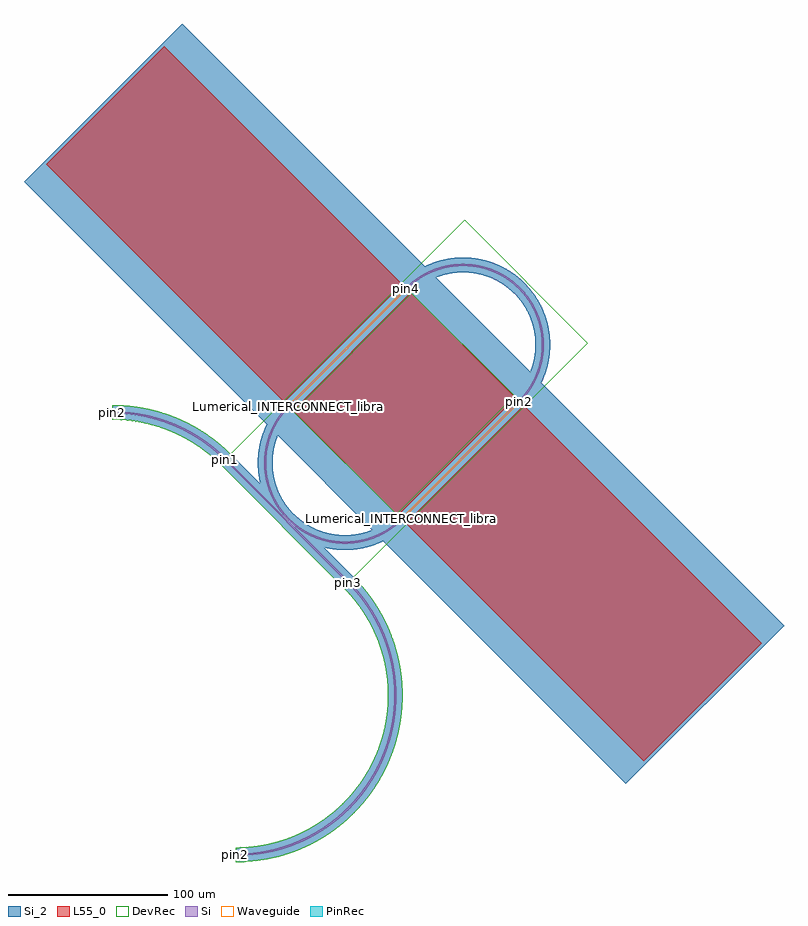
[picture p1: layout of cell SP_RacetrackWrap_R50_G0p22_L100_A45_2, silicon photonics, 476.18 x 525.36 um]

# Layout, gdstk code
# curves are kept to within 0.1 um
import gdstk
lib = gdstk.Library(unit=1e-6, precision=1e-09)
def P(c, l, *ps):  # polygons
    for p in ps: c.add(gdstk.Polygon(p, *l))
Si = (1, 0)
Si_2 = (1, 2)
PinRec = (1, 10)
Waveguide = (1, 99)
L55_0 = (55, 0)
DevRec = (68, 0)

sp_racetrackwrap_r50_g0p = lib.new_cell('SP_RacetrackWrap_R50_G0p22_L100_A45_2')
P(sp_racetrackwrap_r50_g0p, Si, [(36.132,-14.24),(32.502,-14.093),(28.892,-13.687),(24.878,-12.921),(21.372,-11.971),(17.944,-10.771),(14.61,-9.327),(11.387,-7.649),(8.294,-5.745),(5.346,-3.623),(2.558,-1.295),(-0.371,1.556),(-2.773,4.281),(-4.974,7.171),(-6.961,10.212),(-8.93,13.794),(-10.433,17.101),(-11.693,20.507),(-12.816,24.437),(-13.545,27.995),(-14.016,31.598),(-14.228,35.225),(-14.179,38.857),(-13.813,42.927),(-13.212,46.509),(-12.357,50.04),(-11.094,53.926),(-9.711,57.285),(-8.091,60.537),(-6.241,63.664),(-4.173,66.65),(-1.895,69.48),(0.58,72.139),(1.428,71.291),(-2.125,67.333),(-4.99,63.389),(-7.656,58.787),(-9.813,53.925),(-11.201,49.715),(-12.285,44.962),(-12.897,40.125),(-13.036,35.695),(-12.729,30.828),(-11.946,26.016),(-10.691,21.304),(-9.152,17.148),(-7.036,12.755),(-4.499,8.593),(-1.845,5.042),(1.428,1.428),(5.042,-1.845),(8.593,-4.499),(12.755,-7.036),(17.148,-9.152),(21.304,-10.691),(26.016,-11.946),(30.828,-12.729),(35.695,-13.036),(40.125,-12.897),(44.962,-12.285),(49.715,-11.201),(53.925,-9.813),(58.787,-7.656),(63.389,-4.99),(67.333,-2.125),(71.291,1.428),(72.139,0.58),(68.438,-2.773),(64.424,-5.745),(60.137,-8.306),(55.618,-10.433),(50.912,-12.103),(46.064,-13.301),(41.121,-14.016)],
  [(38.184,-39.032),(-39.032,38.184),(-38.184,39.032),(39.032,-38.184)],
  [(146.117,74.557),(145.268,75.406),(148.821,79.364),(151.928,83.68),(154.552,88.306),(156.509,92.772),(157.897,96.981),(158.982,101.734),(159.593,106.572),(159.733,111.002),(159.426,115.868),(158.642,120.681),(157.521,124.968),(155.848,129.548),(153.733,133.941),(151.195,138.104),(148.541,141.654),(145.268,145.268),(141.654,148.541),(138.104,151.195),(133.941,153.733),(129.548,155.848),(124.968,157.521),(120.681,158.642),(115.868,159.426),(111.002,159.733),(106.572,159.593),(101.734,158.982),(96.981,157.897),(92.772,156.509),(88.306,154.552),(83.68,151.928),(79.364,148.821),(75.406,145.268),(74.557,146.117),(78.258,149.47),(82.272,152.441),(86.56,155.002),(91.078,157.129),(95.35,158.667),(100.187,159.908),(105.123,160.667),(110.11,160.937),(115.099,160.713),(120.041,159.997),(124.889,158.799),(129.596,157.129),(134.114,155.002),(138.402,152.441),(142.416,149.47),(146.117,146.117),(149.47,142.416),(152.441,138.402),(155.002,134.114),(157.129,129.596),(158.667,125.324),(159.908,120.487),(160.667,115.551),(160.937,110.564),(160.713,105.575),(159.997,100.633),(158.799,95.785),(157.129,91.078),(155.002,86.56),(152.441,82.272),(149.47,78.258)],
  [(1.428,71.291),(0.58,72.139),(74.557,146.117),(75.406,145.268)],
  [(72.139,0.58),(71.291,1.428),(145.268,75.406),(146.117,74.557)],
  [(-39.032,38.184),(-42.357,41.359),(-46.226,44.708),(-49.775,47.49),(-53.591,50.207),(-57.382,52.65),(-61.584,55.086),(-65.744,57.237),(-69.842,59.123),(-77.861,62.189),(-82.171,63.519),(-86.452,64.632),(-92.144,65.803),(-97.635,66.609),(-103.51,67.128),(-109.319,67.297),(-109.319,68.497),(-104.054,68.36),(-98.89,67.956),(-94.102,67.34),(-89.09,66.443),(-83.96,65.249),(-79.151,63.868),(-74.17,62.158),(-69.527,60.294),(-64.588,58.006),(-59.857,55.499),(-54.97,52.554),(-50.4,49.439),(-44.251,44.622),(-38.557,39.404),(-38.184,39.032)],
  [(-32.103,-209.919),(-32.103,-208.718),(-24.217,-208.406),(-15.954,-207.399),(-8.309,-205.829),(-0.974,-203.719),(5.535,-201.318),(11.939,-198.43),(17.748,-195.315),(23.841,-191.482),(29.368,-187.433),(34.988,-182.663),(40.298,-177.426),(45.091,-171.941),(49.57,-165.976),(53.323,-160.141),(56.738,-153.904),(59.731,-147.358),(62.298,-140.447),(64.282,-133.618),(65.803,-126.494),(66.798,-119.278),(67.259,-112.095),(67.207,-105.07),(66.609,-97.635),(65.521,-90.607),(63.978,-83.843),(61.967,-77.203),(59.531,-70.799),(56.699,-64.656),(52.921,-57.826),(48.467,-51.104),(43.482,-44.763),(38.184,-39.032),(39.032,-38.184),(43.937,-43.452),(48.609,-49.268),(52.79,-55.341),(56.516,-61.703),(59.765,-68.321),(62.55,-75.241),(64.839,-82.435),(66.513,-89.434),(67.737,-96.971),(68.36,-104.054),(68.468,-111.777),(68.009,-119.223),(67,-126.615),(65.424,-133.996),(63.355,-141.073),(60.806,-147.898),(57.771,-154.52),(54.174,-161.056),(50.153,-167.236),(45.635,-173.173),(40.628,-178.822),(35.408,-183.903),(29.695,-188.701),(23.642,-193.062),(17.359,-196.92),(10.731,-200.345),(3.949,-203.237),(-3.11,-205.651),(-10.5,-207.572),(-17.754,-208.891),(-24.735,-209.649)])
P(sp_racetrackwrap_r50_g0p, Si_2, [(212.301,-164.742),(-164.742,212.301),(-65.605,311.438),(311.438,-65.605)],
  [(35.355,-41.861),(-41.861,35.355),(-35.355,41.861),(-16.609,23.115),(-17.406,26.852),(-17.898,30.246),(-18.174,33.665),(-18.236,37.094),(-18.081,40.521),(-17.713,43.931),(-17.031,47.791),(-16.207,51.121),(-15.177,54.393),(-13.75,58.044),(-12.29,61.148),(-10.637,64.154),(-8.799,67.049),(-6.783,69.824),(-4.596,72.467),(-2.249,74.967),(4.257,68.462),(0.991,64.825),(-1.864,60.858),(-4.275,56.607),(-6.356,51.738),(-7.763,47.057),(-8.657,42.252),(-9.037,36.97),(-8.839,32.087),(-8.275,28.052),(-7.35,24.085),(-6.074,20.216),(-4.633,16.845),(-2.925,13.6),(-0.725,10.171),(1.508,7.264),(4.257,4.257),(7.264,1.508),(10.171,-0.725),(13.6,-2.925),(16.845,-4.633),(20.216,-6.074),(24.085,-7.35),(28.052,-8.275),(32.087,-8.839),(36.97,-9.037),(42.252,-8.657),(47.057,-7.763),(51.738,-6.356),(56.607,-4.275),(60.858,-1.864),(64.825,0.991),(68.462,4.257),(74.967,-2.249),(72.467,-4.596),(69.824,-6.783),(67.049,-8.799),(64.154,-10.637),(61.148,-12.29),(58.044,-13.75),(54.393,-15.177),(51.121,-16.207),(47.791,-17.031),(43.931,-17.713),(40.521,-18.081),(37.094,-18.236),(33.665,-18.174),(30.246,-17.898),(26.852,-17.406),(23.115,-16.609),(41.861,-35.355)],
  [(148.945,71.729),(142.44,78.234),(145.705,81.872),(148.778,86.182),(151.152,90.455),(153.053,94.958),(154.459,99.64),(155.353,104.445),(155.733,109.726),(155.535,114.609),(154.971,118.644),(154.154,122.218),(153.053,125.716),(151.503,129.483),(149.621,133.096),(147.655,136.192),(145.188,139.432),(142.44,142.44),(139.432,145.188),(136.192,147.655),(133.096,149.621),(129.483,151.503),(125.716,153.053),(122.218,154.154),(118.644,154.971),(114.609,155.535),(109.726,155.733),(104.445,155.353),(99.64,154.459),(94.958,153.053),(90.455,151.152),(86.182,148.778),(81.872,145.705),(78.234,142.44),(71.729,148.945),(75.723,152.563),(80.054,155.769),(84.68,158.533),(89.556,160.828),(94.634,162.63),(99.865,163.924),(104.71,164.646),(110.092,164.936),(115.475,164.694),(120.808,163.924),(126.04,162.63),(131.118,160.828),(135.994,158.533),(140.62,155.769),(144.951,152.563),(148.945,148.945),(152.563,144.951),(155.769,140.62),(158.533,135.994),(160.828,131.118),(162.63,126.04),(163.924,120.808),(164.646,115.963),(164.936,110.582),(164.694,105.198),(163.924,99.865),(162.63,94.634),(160.828,89.556),(158.533,84.68),(155.769,80.054),(152.563,75.723)],
  [(4.257,68.462),(-2.249,74.967),(71.729,148.945),(78.234,142.44)],
  [(74.967,-2.249),(68.462,4.257),(142.44,78.234),(148.945,71.729)],
  [(-41.861,35.355),(-45.298,38.626),(-48.829,41.669),(-52.639,44.635),(-56.386,47.266),(-60.541,49.885),(-64.458,52.092),(-68.549,54.147),(-72.657,55.972),(-77.082,57.686),(-81.586,59.178),(-85.916,60.383),(-90.462,61.416),(-95.053,62.225),(-99.844,62.826),(-104.742,63.188),(-109.319,63.297),(-109.319,72.497),(-102.386,72.268),(-96.028,71.65),(-89.718,70.645),(-83.306,69.212),(-76.822,67.322),(-70.558,65.051),(-64.534,62.426),(-58.687,59.427),(-52.656,55.821),(-46.588,51.6),(-40.625,46.78),(-35.355,41.861)],
  [(-32.011,-213.919),(-32.103,-204.719),(-24.452,-204.412),(-16.357,-203.411),(-8.942,-201.865),(-1.595,-199.71),(5.786,-196.873),(12.758,-193.513),(19.716,-189.419),(26.171,-184.853),(30.987,-180.879),(35.532,-176.6),(39.623,-172.221),(43.533,-167.461),(47.22,-162.32),(50.35,-157.307),(53.312,-151.812),(55.972,-145.981),(58.154,-140.221),(60.004,-134.171),(61.416,-128.175),(62.471,-121.854),(63.094,-115.558),(63.297,-109.735),(63.115,-103.412),(62.514,-97.114),(61.213,-89.484),(59.274,-81.904),(56.66,-74.354),(53.57,-67.348),(49.885,-60.541),(45.565,-53.92),(40.548,-47.488),(35.355,-41.861),(41.861,-35.355),(47.199,-41.109),(51.927,-47.027),(56.117,-53.117),(60.168,-60.05),(63.529,-66.941),(66.406,-74.144),(68.645,-81.19),(70.506,-89.002),(71.729,-96.661),(72.386,-104.483),(72.457,-112.24),(71.981,-119.708),(70.94,-127.302),(69.369,-134.712),(67.208,-142.162),(64.536,-149.347),(61.467,-156.073),(57.792,-162.8),(53.529,-169.39),(48.957,-175.43),(43.709,-181.387),(38.092,-186.869),(32.224,-191.801),(26.086,-196.24),(19.643,-200.223),(12.682,-203.847),(5.809,-206.807),(-1.521,-209.348),(-8.929,-211.32),(-16.461,-212.743),(-24.078,-213.611)])
P(sp_racetrackwrap_r50_g0p, Waveguide, [(1.428,71.291),(0.58,72.139),(74.557,146.117),(75.406,145.268)],
  [(72.139,0.58),(71.291,1.428),(145.268,75.406),(146.117,74.557)])
P(sp_racetrackwrap_r50_g0p, L55_0, [(69.536,3.195),(3.62,69.112),(77.584,143.076),(143.5,77.159)],
  [(-1.613,74.344),(-150.742,223.473),(-76.778,297.437),(72.351,148.309)],
  [(223.473,-150.742),(74.344,-1.613),(148.309,72.351),(297.437,-76.778)])
P(sp_racetrackwrap_r50_g0p, DevRec, [(35.355,-41.861),(-41.861,35.355),(-2.249,74.967),(74.967,-2.249)],
  [(148.945,71.729),(71.729,148.945),(111.341,188.557),(188.557,111.341)],
  [(4.257,68.462),(-2.249,74.967),(71.729,148.945),(78.234,142.44)],
  [(74.967,-2.249),(68.462,4.257),(142.44,78.234),(148.945,71.729)],
  [(-41.861,35.355),(-45.298,38.626),(-48.829,41.669),(-52.639,44.635),(-56.386,47.266),(-60.541,49.885),(-64.458,52.092),(-68.549,54.147),(-72.657,55.972),(-77.082,57.686),(-81.586,59.178),(-85.916,60.383),(-90.462,61.416),(-95.053,62.225),(-99.844,62.826),(-104.742,63.188),(-109.319,63.297),(-109.319,72.497),(-102.386,72.268),(-96.028,71.65),(-89.718,70.645),(-83.306,69.212),(-76.822,67.322),(-70.558,65.051),(-64.534,62.426),(-58.687,59.427),(-52.656,55.821),(-46.588,51.6),(-40.625,46.78),(-35.355,41.861)],
  [(-32.011,-213.919),(-32.103,-204.719),(-24.452,-204.412),(-16.357,-203.411),(-8.942,-201.865),(-1.595,-199.71),(5.786,-196.873),(12.758,-193.513),(19.716,-189.419),(26.171,-184.853),(30.987,-180.879),(35.532,-176.6),(39.623,-172.221),(43.533,-167.461),(47.22,-162.32),(50.35,-157.307),(53.312,-151.812),(55.972,-145.981),(58.154,-140.221),(60.004,-134.171),(61.416,-128.175),(62.471,-121.854),(63.094,-115.558),(63.297,-109.735),(63.115,-103.412),(62.514,-97.114),(61.213,-89.484),(59.274,-81.904),(56.66,-74.354),(53.57,-67.348),(49.885,-60.541),(45.565,-53.92),(40.548,-47.488),(35.355,-41.861),(41.861,-35.355),(47.199,-41.109),(51.927,-47.027),(56.117,-53.117),(60.168,-60.05),(63.529,-66.941),(66.406,-74.144),(68.645,-81.19),(70.506,-89.002),(71.729,-96.661),(72.386,-104.483),(72.457,-112.24),(71.981,-119.708),(70.94,-127.302),(69.369,-134.712),(67.208,-142.162),(64.536,-149.347),(61.467,-156.073),(57.792,-162.8),(53.529,-169.39),(48.957,-175.43),(43.709,-181.387),(38.092,-186.869),(32.224,-191.801),(26.086,-196.24),(19.643,-200.223),(12.682,-203.847),(5.809,-206.807),(-1.521,-209.348),(-8.929,-211.32),(-16.461,-212.743),(-24.078,-213.611)])
sp_racetrackwrap_r50_g0p.add(gdstk.FlexPath([(0.997,71.708),(1.011,71.722)], 1.2, ends="flush", simple_path=True, layer=1, datatype=10))  # PinRec
sp_racetrackwrap_r50_g0p.add(gdstk.FlexPath([(71.708,0.997),(71.722,1.011)], 1.2, ends="flush", simple_path=True, layer=1, datatype=10))  # PinRec
sp_racetrackwrap_r50_g0p.add(gdstk.FlexPath([(-38.601,38.601),(-38.615,38.615)], 1.2, ends="flush", simple_path=True, layer=1, datatype=10))  # PinRec
sp_racetrackwrap_r50_g0p.add(gdstk.FlexPath([(38.601,-38.601),(38.615,-38.615)], 1.2, ends="flush", simple_path=True, layer=1, datatype=10))  # PinRec
sp_racetrackwrap_r50_g0p.add(gdstk.FlexPath([(145.699,74.989),(145.685,74.975)], 1.2, ends="flush", simple_path=True, layer=1, datatype=10))  # PinRec
sp_racetrackwrap_r50_g0p.add(gdstk.FlexPath([(74.989,145.699),(74.975,145.685)], 1.2, ends="flush", simple_path=True, layer=1, datatype=10))  # PinRec
sp_racetrackwrap_r50_g0p.add(gdstk.FlexPath([(1.011,71.722),(0.997,71.708)], 1.2, ends="flush", simple_path=True, layer=1, datatype=10))  # PinRec
sp_racetrackwrap_r50_g0p.add(gdstk.FlexPath([(74.975,145.685),(74.989,145.699)], 1.2, ends="flush", simple_path=True, layer=1, datatype=10))  # PinRec
sp_racetrackwrap_r50_g0p.add(gdstk.FlexPath([(71.722,1.011),(71.708,0.997)], 1.2, ends="flush", simple_path=True, layer=1, datatype=10))  # PinRec
sp_racetrackwrap_r50_g0p.add(gdstk.FlexPath([(145.685,74.975),(145.699,74.989)], 1.2, ends="flush", simple_path=True, layer=1, datatype=10))  # PinRec
sp_racetrackwrap_r50_g0p.add(gdstk.FlexPath([(-38.615,38.615),(-38.601,38.601)], 1.2, ends="flush", simple_path=True, layer=1, datatype=10))  # PinRec
sp_racetrackwrap_r50_g0p.add(gdstk.FlexPath([(-109.309,67.898),(-109.329,67.898)], 1.2, ends="flush", simple_path=True, layer=1, datatype=10))  # PinRec
sp_racetrackwrap_r50_g0p.add(gdstk.FlexPath([(38.615,-38.615),(38.601,-38.601)], 1.2, ends="flush", simple_path=True, layer=1, datatype=10))  # PinRec
sp_racetrackwrap_r50_g0p.add(gdstk.FlexPath([(-32.093,-209.319),(-32.113,-209.319)], 1.2, ends="flush", simple_path=True, layer=1, datatype=10))  # PinRec
sp_racetrackwrap_r50_g0p.add(gdstk.FlexPath([(-109.309,67.898),(-109.329,67.898)], 0, ends="flush", simple_path=True, layer=1, datatype=10))  # PinRec
sp_racetrackwrap_r50_g0p.add(gdstk.FlexPath([(-32.093,-209.319),(-32.113,-209.319)], 0, ends="flush", simple_path=True, layer=1, datatype=10))  # PinRec
sp_racetrackwrap_r50_g0p.add(gdstk.Label('Lumerical_INTERCONNECT_library=Design kits/EBeam', (0.834,71.884), layer=68, texttype=0))
sp_racetrackwrap_r50_g0p.add(gdstk.Label('Component=ebeam_wg_integral_895', (1.174,71.545), layer=68, texttype=0))
sp_racetrackwrap_r50_g0p.add(gdstk.Label('cellName=Waveguide', (1.344,71.375), layer=68, texttype=0))
sp_racetrackwrap_r50_g0p.add(gdstk.Label('Spice_param:wg_length=0.000104620 wg_width=1.2e-06 points="[[-50.0,51.42],[-50.0,156.04]]" radius=0.0001', (1.004,71.715), layer=68, texttype=0))
sp_racetrackwrap_r50_g0p.add(gdstk.Label('Length=104.620 (microns)', (-0.014,72.733), layer=68, texttype=0))
sp_racetrackwrap_r50_g0p.add(gdstk.Label('waveguide_type=Low-loss Bend Waveguide, w=1.2um r=100um', (0.665,72.054), layer=68, texttype=0))
sp_racetrackwrap_r50_g0p.add(gdstk.Label('Lumerical_INTERCONNECT_library=Design kits/EBeam', (71.545,1.174), layer=68, texttype=0))
sp_racetrackwrap_r50_g0p.add(gdstk.Label('Component=ebeam_wg_integral_895', (71.884,0.834), layer=68, texttype=0))
sp_racetrackwrap_r50_g0p.add(gdstk.Label('cellName=Waveguide', (72.054,0.665), layer=68, texttype=0))
sp_racetrackwrap_r50_g0p.add(gdstk.Label('Spice_param:wg_length=0.000104620 wg_width=1.2e-06 points="[[50.0,51.42],[50.0,156.04]]" radius=0.0001', (71.715,1.004), layer=68, texttype=0))
sp_racetrackwrap_r50_g0p.add(gdstk.Label('Length=104.620 (microns)', (70.697,2.022), layer=68, texttype=0))
sp_racetrackwrap_r50_g0p.add(gdstk.Label('waveguide_type=Low-loss Bend Waveguide, w=1.2um r=100um', (71.375,1.344), layer=68, texttype=0))
sp_racetrackwrap_r50_g0p.add(gdstk.Label('pin2', (1.004,71.715), layer=1, texttype=10))
sp_racetrackwrap_r50_g0p.add(gdstk.Label('pin4', (71.715,1.004), layer=1, texttype=10))
sp_racetrackwrap_r50_g0p.add(gdstk.Label('pin1', (-38.608,38.608), layer=1, texttype=10))
sp_racetrackwrap_r50_g0p.add(gdstk.Label('pin3', (38.608,-38.608), layer=1, texttype=10))
sp_racetrackwrap_r50_g0p.add(gdstk.Label('pin2', (145.692,74.982), layer=1, texttype=10))
sp_racetrackwrap_r50_g0p.add(gdstk.Label('pin4', (74.982,145.692), layer=1, texttype=10))
sp_racetrackwrap_r50_g0p.add(gdstk.Label('opt1', (1.004,71.715), layer=1, texttype=10))
sp_racetrackwrap_r50_g0p.add(gdstk.Label('opt2', (74.982,145.692), layer=1, texttype=10))
sp_racetrackwrap_r50_g0p.add(gdstk.Label('opt1', (71.715,1.004), layer=1, texttype=10))
sp_racetrackwrap_r50_g0p.add(gdstk.Label('opt2', (145.692,74.982), layer=1, texttype=10))
sp_racetrackwrap_r50_g0p.add(gdstk.Label('pin1', (-38.608,38.608), layer=1, texttype=10))
sp_racetrackwrap_r50_g0p.add(gdstk.Label('pin2', (-109.319,67.898), layer=1, texttype=10))
sp_racetrackwrap_r50_g0p.add(gdstk.Label('pin1', (38.608,-38.608), layer=1, texttype=10))
sp_racetrackwrap_r50_g0p.add(gdstk.Label('pin2', (-32.103,-209.319), layer=1, texttype=10))
sp_racetrackwrap_r50_g0p.add(gdstk.Label('pin_in', (-109.319,67.898), layer=1, texttype=10))
sp_racetrackwrap_r50_g0p.add(gdstk.Label('pin_out', (-32.103,-209.319), layer=1, texttype=10))

lib.write_gds('SP_RacetrackWrap_R50_G0p22_L100_A45_2.gds')
